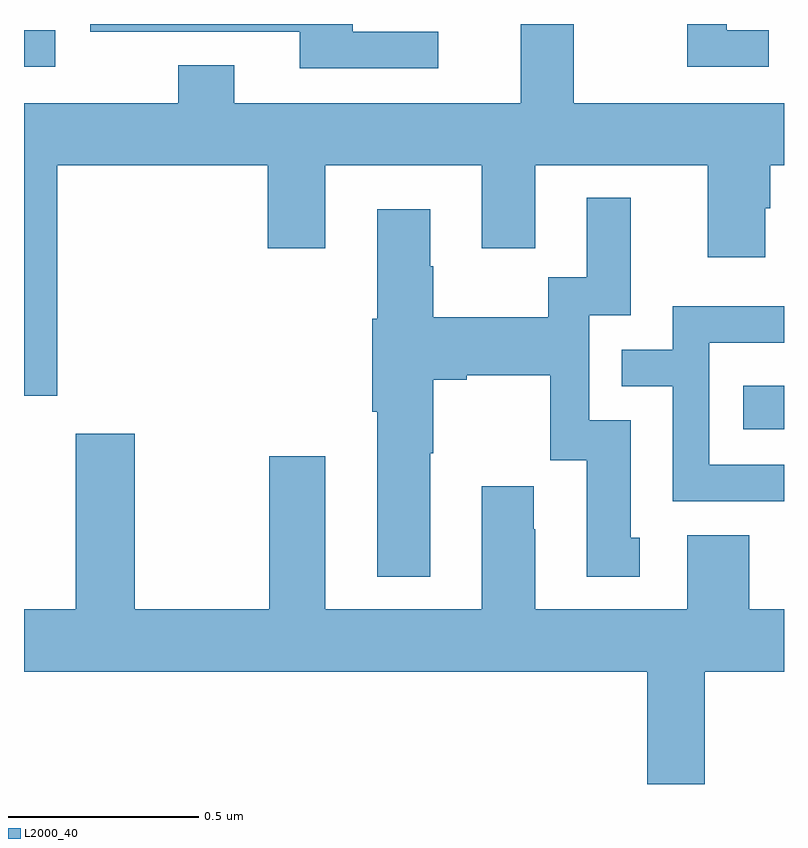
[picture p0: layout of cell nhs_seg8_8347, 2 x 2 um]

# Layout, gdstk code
import gdstk
lib = gdstk.Library(unit=1e-6, precision=1e-09)
def R(c, l, rs):  # rectangles x0, y0, x1, y1
    for r in rs: c.add(gdstk.rectangle(r[:2], r[2:], *l))
def P(c, l, *ps):  # polygons
    for p in ps: c.add(gdstk.Polygon(p, *l))
L2000_40 = (2000, 40)

nhs_seg8_8347 = lib.new_cell('nhs_seg8_8347')
R(nhs_seg8_8347, L2000_40, [(223.893,1087.833,224,1087.948), (222,1088.787,222.082,1088.883)])
P(nhs_seg8_8347, L2000_40, [(223.96,1088.883),(223.849,1088.883),(223.849,1088.9),(223.745,1088.9),(223.745,1088.787),(223.96,1088.787)],
  [(223.09,1088.88),(222.865,1088.88),(222.865,1088.9),(222.174,1088.9),(222.174,1088.88),(222.725,1088.88),(222.725,1088.784),(223.09,1088.784)],
  [(222.088,1088.528),(222.641,1088.528),(222.641,1088.31),(222.793,1088.31),(222.793,1088.528),(223.205,1088.528),(223.205,1088.31),(223.345,1088.31),(223.345,1088.528),(223.799,1088.528),(223.799,1088.286),(223.951,1088.286),(223.951,1088.415),(223.964,1088.415),(223.964,1088.528),(224,1088.528),(224,1088.692),(223.447,1088.692),(223.447,1088.9),(223.307,1088.9),(223.307,1088.692),(222.553,1088.692),(222.553,1088.791),(222.406,1088.791),(222.406,1088.692),(222,1088.692),(222,1087.922),(222.088,1087.922)],
  [(223.069,1087.771),(223.077,1087.771),(223.077,1087.964),(223.165,1087.964),(223.165,1087.976),(223.385,1087.976),(223.385,1087.752),(223.481,1087.752),(223.481,1087.446),(223.621,1087.446),(223.621,1087.548),(223.597,1087.548),(223.597,1087.857),(223.488,1087.857),(223.488,1088.133),(223.597,1088.133),(223.597,1088.443),(223.481,1088.443),(223.481,1088.234),(223.38,1088.234),(223.38,1088.128),(223.077,1088.128),(223.077,1088.262),(223.069,1088.262),(223.069,1088.413),(222.929,1088.413),(222.929,1088.124),(222.917,1088.124),(222.917,1087.88),(222.929,1087.88),(222.929,1087.445),(223.069,1087.445)],
  [(224,1087.74),(223.803,1087.74),(223.803,1088.061),(224,1088.061),(224,1088.157),(223.707,1088.157),(223.707,1088.043),(223.573,1088.043),(223.573,1087.947),(223.707,1087.947),(223.707,1087.644),(224,1087.644)],
  [(223.792,1087.196),(224,1087.196),(224,1087.36),(223.909,1087.36),(223.909,1087.555),(223.745,1087.555),(223.745,1087.36),(223.345,1087.36),(223.345,1087.571),(223.342,1087.571),(223.342,1087.684),(223.205,1087.684),(223.205,1087.36),(222.793,1087.36),(222.793,1087.762),(222.646,1087.762),(222.646,1087.36),(222.291,1087.36),(222.291,1087.822),(222.136,1087.822),(222.136,1087.36),(222,1087.36),(222,1087.196),(223.64,1087.196),(223.64,1086.9),(223.792,1086.9)])

lib.write_gds('nhs_seg8_8347.gds')
